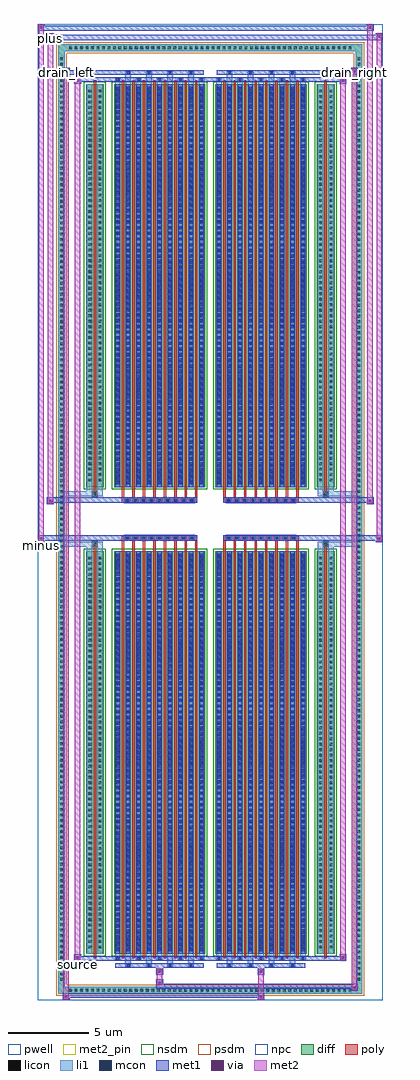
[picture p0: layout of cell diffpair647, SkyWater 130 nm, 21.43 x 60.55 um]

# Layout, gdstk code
import gdstk
lib = gdstk.Library(unit=1e-6, precision=5e-09)
def R(c, l, rs):  # rectangles x0, y0, x1, y1
    for r in rs: c.add(gdstk.rectangle(r[:2], r[2:], *l))
def A(c, l, x, y, w, h, nx, ny, dx, dy):  # array of equal rectangles
    R(c, l, [(x+i*dx, y+j*dy, x+i*dx+w, y+j*dy+h) for i in range(nx) for j in range(ny)])
def P(c, l, *ps):  # polygons
    for p in ps: c.add(gdstk.Polygon(p, *l))
pwell = (64, 44)
diff = (65, 20)
poly = (66, 20)
licon = (66, 44)
li1 = (67, 20)
mcon = (67, 44)
met1 = (68, 20)
via = (68, 44)
met2_pin = (69, 16)
met2 = (69, 20)
nsdm = (93, 44)
psdm = (94, 20)
npc = (95, 20)

diffpair647 = lib.new_cell('diffpair647')
R(diffpair647, pwell, [(-10.7,-29.84,10.7,30.71), (-8.02,-28.03,-0.01,-0.805), (0.01,-28.03,8.02,-0.805), (-8.02,0.805,-0.01,28.03), (0.01,0.805,8.02,28.03)])
A(diffpair647, diff, -8.875, -29.44, 0.41, 0.41, 52, 2, 0.34, 58.47)
A(diffpair647, diff, -9.43, -28.765, 0.41, 0.41, 1, 169, 0, 0.34)
A(diffpair647, diff, 9.02, -28.765, 0.41, 0.41, 1, 169, 0, 0.34)
R(diffpair647, diff, [(-8.875,-29.44,8.875,-29.03), (-9.43,-28.765,-9.02,28.765), (9.02,-28.765,9.43,28.765), (-7.71,-26.985,-6.61,-1.985), (-5.97,-26.985,-0.32,-1.985), (0.32,-26.985,5.97,-1.985), (6.61,-26.985,7.71,-1.985), (-7.71,1.985,-6.61,26.985), (-5.97,1.985,-0.32,26.985), (0.32,1.985,5.97,26.985), (6.61,1.985,7.71,26.985), (-8.875,29.03,8.875,29.44)])
P(diffpair647, diff, [(9.43,29.44),(-9.43,29.44),(-9.43,-29.03),(-9.02,-29.03),(-9.02,29.03),(9.02,29.03),(9.02,-29.03),(-9.02,-29.03),(-9.43,-29.03),(-9.43,-29.44),(9.43,-29.44)])
A(diffpair647, poly, -5.495, -27.235, 0.15, 25.5, 8, 2, 0.65, 28.97)
A(diffpair647, poly, 0.795, -27.235, 0.15, 25.5, 8, 2, 0.65, 28.97)
A(diffpair647, poly, -5.495, -1.735, 0.15, 0.4, 8, 2, 0.65, 3.07)
A(diffpair647, poly, 0.795, -1.735, 0.15, 0.4, 8, 2, 0.65, 3.07)
A(diffpair647, poly, -5.31, -1.335, 0.33, 0.33, 9, 2, 0.5, 2.34)
A(diffpair647, poly, 0.98, -1.335, 0.33, 0.33, 9, 2, 0.5, 2.34)
R(diffpair647, poly, [(-7.235,-27.235,-7.085,-1.735), (7.085,-27.235,7.235,-1.735), (-7.325,-1.735,-6.995,-1.405), (-7.325,-1.735,-6.995,-1.405), (6.995,-1.735,7.325,-1.405), (6.995,-1.735,7.325,-1.405), (-5.495,-1.335,-0.795,-1.005), (0.795,-1.335,5.495,-1.005), (-5.495,1.005,-0.795,1.335), (0.795,1.005,5.495,1.335), (-7.325,1.405,-6.995,1.735), (-7.325,1.405,-6.995,1.735), (6.995,1.405,7.325,1.735), (6.995,1.405,7.325,1.735), (-7.235,1.735,-7.085,27.235), (7.085,1.735,7.235,27.235)])
A(diffpair647, licon, -8.755, -29.32, 0.17, 0.17, 52, 2, 0.34, 58.47)
A(diffpair647, licon, -9.31, -28.645, 0.17, 0.17, 1, 169, 0, 0.34)
A(diffpair647, licon, 9.14, -28.645, 0.17, 0.17, 1, 169, 0, 0.34)
A(diffpair647, licon, -7.57, -26.64, 0.17, 0.17, 1, 72, 0, 0.34)
A(diffpair647, licon, -6.92, -26.64, 0.17, 0.17, 1, 72, 0, 0.34)
A(diffpair647, licon, -5.83, -26.64, 0.17, 0.17, 9, 72, 0.65, 0.34)
A(diffpair647, licon, 0.46, -26.64, 0.17, 0.17, 9, 72, 0.65, 0.34)
A(diffpair647, licon, 6.75, -26.64, 0.17, 0.17, 1, 72, 0, 0.34)
A(diffpair647, licon, 7.4, -26.64, 0.17, 0.17, 1, 72, 0, 0.34)
A(diffpair647, licon, -5.23, -1.255, 0.17, 0.17, 9, 2, 0.5, 2.34)
A(diffpair647, licon, 1.06, -1.255, 0.17, 0.17, 9, 2, 0.5, 2.34)
A(diffpair647, licon, -7.57, 2.33, 0.17, 0.17, 1, 72, 0, 0.34)
A(diffpair647, licon, -6.92, 2.33, 0.17, 0.17, 1, 72, 0, 0.34)
A(diffpair647, licon, -5.83, 2.33, 0.17, 0.17, 9, 72, 0.65, 0.34)
A(diffpair647, licon, 0.46, 2.33, 0.17, 0.17, 9, 72, 0.65, 0.34)
A(diffpair647, licon, 6.75, 2.33, 0.17, 0.17, 1, 72, 0, 0.34)
A(diffpair647, licon, 7.4, 2.33, 0.17, 0.17, 1, 72, 0, 0.34)
R(diffpair647, licon, [(-7.245,-1.655,-7.075,-1.485), (7.075,-1.655,7.245,-1.485), (-7.245,1.485,-7.075,1.655), (7.075,1.485,7.245,1.655)])
A(diffpair647, li1, -8.835, -29.4, 0.33, 0.33, 52, 2, 0.34, 58.47)
A(diffpair647, li1, -9.39, -28.725, 0.33, 0.33, 1, 169, 0, 0.34)
A(diffpair647, li1, 9.06, -28.725, 0.33, 0.33, 1, 169, 0, 0.34)
A(diffpair647, li1, -5.26, -27.79, 0.33, 0.805, 4, 2, 1.3, 54.775)
A(diffpair647, li1, -5.18, -27.79, 0.17, 0.17, 4, 2, 1.3, 55.41)
A(diffpair647, li1, 1.03, -27.79, 0.33, 0.805, 4, 2, 1.3, 54.775)
A(diffpair647, li1, 1.11, -27.79, 0.17, 0.17, 4, 2, 1.3, 55.41)
A(diffpair647, li1, -5.91, -27.36, 0.33, 0.375, 5, 2, 1.3, 54.345)
A(diffpair647, li1, -5.83, -27.36, 0.17, 0.17, 5, 2, 1.3, 54.55)
A(diffpair647, li1, 0.38, -27.36, 0.33, 0.375, 5, 2, 1.3, 54.345)
A(diffpair647, li1, 0.46, -27.36, 0.17, 0.17, 5, 2, 1.3, 54.55)
A(diffpair647, li1, -5.91, -26.985, 0.33, 25, 9, 2, 0.65, 28.97)
A(diffpair647, li1, 0.38, -26.985, 0.33, 25, 9, 2, 0.65, 28.97)
A(diffpair647, li1, -5.83, -26.81, 0.17, 0.17, 9, 69, 0.65, 0.36)
A(diffpair647, li1, -5.83, -26.81, 0.17, 24.65, 9, 2, 0.65, 28.97)
A(diffpair647, li1, 0.46, -26.81, 0.17, 0.17, 9, 69, 0.65, 0.36)
A(diffpair647, li1, 0.46, -26.81, 0.17, 24.65, 9, 2, 0.65, 28.97)
A(diffpair647, li1, -7.65, -26.72, 0.33, 0.33, 1, 72, 0, 0.34)
A(diffpair647, li1, -7, -26.72, 0.33, 0.33, 1, 72, 0, 0.34)
A(diffpair647, li1, -5.91, -26.72, 0.33, 0.33, 9, 72, 0.65, 0.34)
A(diffpair647, li1, 0.38, -26.72, 0.33, 0.33, 9, 72, 0.65, 0.34)
A(diffpair647, li1, 6.67, -26.72, 0.33, 0.33, 1, 72, 0, 0.34)
A(diffpair647, li1, 7.32, -26.72, 0.33, 0.33, 1, 72, 0, 0.34)
A(diffpair647, li1, -5.31, -1.335, 0.33, 0.33, 9, 2, 0.5, 2.34)
A(diffpair647, li1, 0.98, -1.335, 0.33, 0.33, 9, 2, 0.5, 2.34)
A(diffpair647, li1, -5.83, 2.16, 0.17, 0.17, 9, 69, 0.65, 0.36)
A(diffpair647, li1, 0.46, 2.16, 0.17, 0.17, 9, 69, 0.65, 0.36)
A(diffpair647, li1, -7.65, 2.25, 0.33, 0.33, 1, 72, 0, 0.34)
A(diffpair647, li1, -7, 2.25, 0.33, 0.33, 1, 72, 0, 0.34)
A(diffpair647, li1, -5.91, 2.25, 0.33, 0.33, 9, 72, 0.65, 0.34)
A(diffpair647, li1, 0.38, 2.25, 0.33, 0.33, 9, 72, 0.65, 0.34)
A(diffpair647, li1, 6.67, 2.25, 0.33, 0.33, 1, 72, 0, 0.34)
A(diffpair647, li1, 7.32, 2.25, 0.33, 0.33, 1, 72, 0, 0.34)
R(diffpair647, li1, [(-9.43,-29.44,-9.02,-29.03), (-9.43,-29.44,-9.02,-29.03), (-9.02,-29.44,9.02,-29.03), (9.02,-29.44,9.43,-29.03), (9.02,-29.44,9.43,-29.03), (-9.43,-29.03,-9.02,29.03), (9.02,-29.03,9.43,29.03), (-7.65,-26.985,-7.32,-1.985), (-7,-26.985,-6.67,-1.985), (6.67,-26.985,7,-1.985), (7.32,-26.985,7.65,-1.985), (-7.65,-1.985,-7.32,-1.405), (-7,-1.985,-6.67,-1.405), (6.67,-1.985,7,-1.405), (7.32,-1.985,7.65,-1.405), (-9.43,-1.735,-7.325,-1.405), (-7.65,-1.735,-7.325,-1.405), (-7.325,-1.735,-6.995,-1.405), (-6.995,-1.735,-6.67,-1.405), (6.67,-1.735,6.995,-1.405), (6.995,-1.735,7.325,-1.405), (6.995,-1.735,9.43,-1.405), (7.325,-1.735,7.65,-1.405), (-9.43,1.405,-7.325,1.735), (-7.65,1.405,-7.325,1.735), (-7.65,1.405,-7.32,1.985), (-7.325,1.405,-6.995,1.735), (-7,1.405,-6.67,1.985), (-6.995,1.405,-6.67,1.735), (6.67,1.405,6.995,1.735), (6.67,1.405,7,1.985), (6.995,1.405,7.325,1.735), (6.995,1.405,9.43,1.735), (7.32,1.405,7.65,1.985), (7.325,1.405,7.65,1.735), (-7.65,1.985,-7.32,26.985), (-7,1.985,-6.67,26.985), (6.67,1.985,7,26.985), (7.32,1.985,7.65,26.985), (-9.43,29.03,-9.02,29.44), (-9.43,29.03,-9.02,29.44), (-9.02,29.03,9.02,29.44), (9.02,29.03,9.43,29.44), (9.02,29.03,9.43,29.44)])
A(diffpair647, mcon, -5.18, -27.79, 0.17, 0.17, 4, 2, 1.3, 55.41)
A(diffpair647, mcon, 1.11, -27.79, 0.17, 0.17, 4, 2, 1.3, 55.41)
A(diffpair647, mcon, -5.83, -27.36, 0.17, 0.17, 5, 2, 1.3, 54.55)
A(diffpair647, mcon, 0.46, -27.36, 0.17, 0.17, 5, 2, 1.3, 54.55)
A(diffpair647, mcon, -5.83, -26.81, 0.17, 0.17, 9, 69, 0.65, 0.36)
A(diffpair647, mcon, 0.46, -26.81, 0.17, 0.17, 9, 69, 0.65, 0.36)
A(diffpair647, mcon, -5.23, -1.255, 0.17, 0.17, 9, 2, 0.5, 2.34)
A(diffpair647, mcon, 1.06, -1.255, 0.17, 0.17, 9, 2, 0.5, 2.34)
A(diffpair647, mcon, -5.83, 2.16, 0.17, 0.17, 9, 69, 0.65, 0.36)
A(diffpair647, mcon, 0.46, 2.16, 0.17, 0.17, 9, 69, 0.65, 0.36)
A(diffpair647, met1, -5.24, -27.85, 0.29, 0.29, 4, 2, 1.3, 55.41)
A(diffpair647, met1, 1.05, -27.85, 0.29, 0.29, 4, 2, 1.3, 55.41)
A(diffpair647, met1, -5.89, -27.42, 0.29, 0.29, 5, 2, 1.3, 54.55)
A(diffpair647, met1, 0.4, -27.42, 0.29, 0.29, 5, 2, 1.3, 54.55)
A(diffpair647, met1, -5.89, -26.985, 0.29, 25, 9, 2, 0.65, 28.97)
A(diffpair647, met1, 0.4, -26.985, 0.29, 25, 9, 2, 0.65, 28.97)
A(diffpair647, met1, -5.89, -26.87, 0.29, 0.29, 9, 69, 0.65, 0.36)
A(diffpair647, met1, 0.4, -26.87, 0.29, 0.29, 9, 69, 0.65, 0.36)
A(diffpair647, met1, -5.29, -1.315, 0.29, 0.29, 9, 2, 0.5, 2.34)
A(diffpair647, met1, 1, -1.315, 0.29, 0.29, 9, 2, 0.5, 2.34)
A(diffpair647, met1, -5.89, 2.1, 0.29, 0.29, 9, 69, 0.65, 0.36)
A(diffpair647, met1, 0.4, 2.1, 0.29, 0.29, 9, 69, 0.65, 0.36)
R(diffpair647, met1, [(-9.16,-29.84,-8.73,-29.41), (2.93,-29.84,3.36,-29.41), (-9.16,-29.7,3.36,-29.41), (8.73,-29.27,9.16,-28.84), (-3.36,-29.13,9.16,-28.84), (-3.36,-28.99,-2.93,-28.56), (-3.36,-28.28,-2.93,-27.85), (2.93,-28.28,3.36,-27.85), (-5.89,-27.85,-0.4,-27.56), (0.4,-27.85,5.89,-27.56), (-8.45,-27.42,-8.02,-26.99), (-8.45,-27.42,-5.89,-27.13), (-5.89,-27.42,-0.4,-27.13), (-0.4,-27.42,0.4,-27.13), (0.4,-27.42,5.89,-27.13), (5.89,-27.42,8.45,-27.13), (8.02,-27.42,8.45,-26.99), (-10.7,-1.435,-10.27,-1.005), (10.27,-1.435,10.7,-1.005), (-10.7,-1.335,-0.795,-1.005), (-5.495,-1.335,-0.795,-1.005), (0.795,-1.335,5.495,-1.005), (0.795,-1.335,10.7,-1.005), (-10.13,0.905,-9.7,1.335), (9.7,0.905,10.13,1.335), (-10.13,1.005,-5.495,1.335), (-5.495,1.005,-0.795,1.335), (0.795,1.005,5.495,1.335), (5.495,1.005,10.13,1.335), (-8.45,26.99,-8.02,27.42), (8.02,26.99,8.45,27.42), (-8.45,27.13,-5.89,27.42), (-5.89,27.13,-0.4,27.42), (-0.4,27.13,0.4,27.42), (0.4,27.13,5.89,27.42), (5.89,27.13,8.45,27.42), (-9.16,27.56,-8.73,27.99), (-9.16,27.56,-5.89,27.85), (-5.89,27.56,-0.4,27.85), (0.4,27.56,5.89,27.85), (5.89,27.56,9.16,27.85), (8.73,27.56,9.16,27.99), (-10.13,29.71,-9.7,30.14), (-10.13,29.71,-8.02,30.04), (-8.02,29.71,8.02,30.04), (8.02,29.71,10.7,30.04), (10.27,29.71,10.7,30.14), (-10.7,30.28,-10.27,30.71), (-10.7,30.28,-8.02,30.61), (-8.02,30.28,8.02,30.61), (8.02,30.28,10.13,30.61), (9.7,30.28,10.13,30.71)])
R(diffpair647, via, [(-9.02,-29.7,-8.87,-29.55), (3.07,-29.7,3.22,-29.55), (8.87,-29.13,9.02,-28.98), (-3.22,-28.85,-3.07,-28.7), (-3.22,-28.14,-3.07,-27.99), (3.07,-28.14,3.22,-27.99), (-8.31,-27.28,-8.16,-27.13), (8.16,-27.28,8.31,-27.13), (-10.56,-1.295,-10.41,-1.145), (10.41,-1.295,10.56,-1.145), (-9.99,1.045,-9.84,1.195), (9.84,1.045,9.99,1.195), (-8.31,27.13,-8.16,27.28), (8.16,27.13,8.31,27.28), (-9.02,27.7,-8.87,27.85), (8.87,27.7,9.02,27.85), (-9.99,29.85,-9.84,30), (10.41,29.85,10.56,30), (-10.56,30.42,-10.41,30.57), (9.84,30.42,9.99,30.57)])
R(diffpair647, met2_pin, [(-8.485,-27.87,-7.985,-27.37), (-10.735,-1.885,-10.235,-1.385), (-9.195,27.44,-8.695,27.94), (8.695,27.44,9.195,27.94), (-10.165,29.59,-9.665,30.09)])
R(diffpair647, met2, [(-9.11,-29.79,-8.78,-29.46), (-9.11,-29.79,-8.78,27.94), (2.98,-29.79,3.31,-29.46), (2.98,-29.46,3.31,-28.23), (8.78,-29.22,9.11,-28.89), (8.78,-29.22,9.11,27.94), (-3.31,-28.94,-2.98,-28.61), (-3.31,-28.61,-2.98,-28.23), (-3.31,-28.23,-2.98,-27.9), (2.98,-28.23,3.31,-27.9), (-8.4,-27.37,-8.07,-27.04), (-8.4,-27.37,-8.07,27.37), (8.07,-27.37,8.4,-27.04), (8.07,-27.37,8.4,27.37), (-10.65,-1.385,-10.32,-1.055), (-10.65,-1.385,-10.32,30.66), (10.32,-1.385,10.65,-1.055), (10.32,-1.385,10.65,30.09), (-10.08,0.955,-9.75,1.285), (-10.08,0.955,-9.75,30.09), (9.75,0.955,10.08,1.285), (9.75,0.955,10.08,30.66), (-8.4,27.04,-8.07,27.37), (8.07,27.04,8.4,27.37), (-9.11,27.61,-8.78,27.94), (8.78,27.61,9.11,27.94), (-10.08,29.76,-9.75,30.09), (10.32,29.76,10.65,30.09), (-10.65,30.33,-10.32,30.66), (9.75,30.33,10.08,30.66)])
P(diffpair647, met2, [(10.65,-1.385),(10.65,-1.385),(10.65,-1.055),(10.65,-1.055)],
  [(10.65,29.76),(10.65,29.76),(10.65,30.09),(10.65,30.09)],
  [(-10.32,-1.385),(-10.32,-1.385),(-10.32,-1.055),(-10.32,-1.055)],
  [(-10.32,30.33),(-10.32,30.33),(-10.32,30.66),(-10.32,30.66)],
  [(10.08,0.955),(10.08,0.955),(10.08,1.285),(10.08,1.285)],
  [(10.08,30.33),(10.08,30.33),(10.08,30.66),(10.08,30.66)],
  [(-9.75,0.955),(-9.75,0.955),(-9.75,1.285),(-9.75,1.285)],
  [(-9.75,29.76),(-9.75,29.76),(-9.75,30.09),(-9.75,30.09)],
  [(-8.78,-29.79),(-8.78,-29.79),(-8.78,-29.46),(-8.78,-29.46)],
  [(-8.78,27.61),(-8.78,27.61),(-8.78,27.94),(-8.78,27.94)],
  [(9.11,-29.22),(9.11,-29.22),(9.11,-28.89),(9.11,-28.89)],
  [(9.11,27.61),(9.11,27.61),(9.11,27.94),(9.11,27.94)],
  [(-8.07,-27.37),(-8.07,-27.37),(-8.07,-27.04),(-8.07,-27.04)],
  [(-8.07,27.04),(-8.07,27.04),(-8.07,27.37),(-8.07,27.37)],
  [(8.4,-27.37),(8.4,-27.37),(8.4,-27.04),(8.4,-27.04)],
  [(8.4,27.04),(8.4,27.04),(8.4,27.37),(8.4,27.37)])
R(diffpair647, nsdm, [(-7.84,-27.115,-6.48,-1.855), (-6.1,-27.115,-0.19,-1.855), (0.19,-27.115,6.1,-1.855), (6.48,-27.115,7.84,-1.855), (-7.84,1.855,-6.48,27.115), (-6.1,1.855,-0.19,27.115), (0.19,1.855,6.1,27.115), (6.48,1.855,7.84,27.115)])
P(diffpair647, psdm, [(9.56,29.57),(-9.56,29.57),(-9.56,-28.9),(-8.89,-28.9),(-8.89,28.9),(8.89,28.9),(8.89,-28.9),(-8.89,-28.9),(-9.56,-28.9),(-9.56,-29.57),(9.56,-29.57)])
A(diffpair647, npc, -5.33, -1.355, 0.37, 0.37, 9, 2, 0.5, 2.34)
A(diffpair647, npc, 0.96, -1.355, 0.37, 0.37, 9, 2, 0.5, 2.34)
R(diffpair647, npc, [(-7.345,-1.755,-6.975,-1.385), (6.975,-1.755,7.345,-1.385), (-5.33,-1.355,-4.46,-0.985), (-5.33,-1.355,-4.46,-0.985), (-4.83,-1.355,-3.96,-0.985), (-4.83,-1.355,-3.96,-0.985), (-4.33,-1.355,-3.46,-0.985), (-4.33,-1.355,-3.46,-0.985), (-3.83,-1.355,-2.96,-0.985), (-3.83,-1.355,-2.96,-0.985), (-3.33,-1.355,-2.46,-0.985), (-3.33,-1.355,-2.46,-0.985), (-2.83,-1.355,-1.96,-0.985), (-2.83,-1.355,-1.96,-0.985), (-2.33,-1.355,-1.46,-0.985), (-2.33,-1.355,-1.46,-0.985), (-1.83,-1.355,-0.96,-0.985), (-1.83,-1.355,-0.96,-0.985), (0.96,-1.355,1.83,-0.985), (0.96,-1.355,1.83,-0.985), (1.46,-1.355,2.33,-0.985), (1.46,-1.355,2.33,-0.985), (1.96,-1.355,2.83,-0.985), (1.96,-1.355,2.83,-0.985), (2.46,-1.355,3.33,-0.985), (2.46,-1.355,3.33,-0.985), (2.96,-1.355,3.83,-0.985), (2.96,-1.355,3.83,-0.985), (3.46,-1.355,4.33,-0.985), (3.46,-1.355,4.33,-0.985), (3.96,-1.355,4.83,-0.985), (3.96,-1.355,4.83,-0.985), (4.46,-1.355,5.33,-0.985), (4.46,-1.355,5.33,-0.985), (-5.33,0.985,-4.46,1.355), (-5.33,0.985,-4.46,1.355), (-4.83,0.985,-3.96,1.355), (-4.83,0.985,-3.96,1.355), (-4.33,0.985,-3.46,1.355), (-4.33,0.985,-3.46,1.355), (-3.83,0.985,-2.96,1.355), (-3.83,0.985,-2.96,1.355), (-3.33,0.985,-2.46,1.355), (-3.33,0.985,-2.46,1.355), (-2.83,0.985,-1.96,1.355), (-2.83,0.985,-1.96,1.355), (-2.33,0.985,-1.46,1.355), (-2.33,0.985,-1.46,1.355), (-1.83,0.985,-0.96,1.355), (-1.83,0.985,-0.96,1.355), (0.96,0.985,1.83,1.355), (0.96,0.985,1.83,1.355), (1.46,0.985,2.33,1.355), (1.46,0.985,2.33,1.355), (1.96,0.985,2.83,1.355), (1.96,0.985,2.83,1.355), (2.46,0.985,3.33,1.355), (2.46,0.985,3.33,1.355), (2.96,0.985,3.83,1.355), (2.96,0.985,3.83,1.355), (3.46,0.985,4.33,1.355), (3.46,0.985,4.33,1.355), (3.96,0.985,4.83,1.355), (3.96,0.985,4.83,1.355), (4.46,0.985,5.33,1.355), (4.46,0.985,5.33,1.355), (-7.345,1.385,-6.975,1.755), (6.975,1.385,7.345,1.755)])
diffpair647.add(gdstk.Label('minus', (-10.485,-1.635), layer=69, texttype=5))
diffpair647.add(gdstk.Label('drain_right', (8.945,27.69), layer=69, texttype=5))
diffpair647.add(gdstk.Label('drain_left', (-8.945,27.69), layer=69, texttype=5))
diffpair647.add(gdstk.Label('source', (-8.235,-27.62), layer=69, texttype=5))
diffpair647.add(gdstk.Label('plus', (-9.915,29.84), layer=69, texttype=5))

lib.write_gds('diffpair647.gds')
